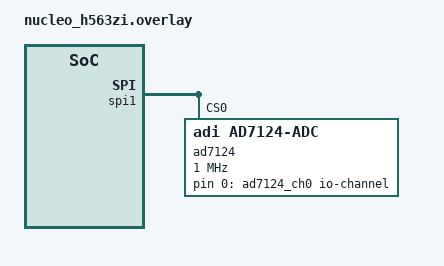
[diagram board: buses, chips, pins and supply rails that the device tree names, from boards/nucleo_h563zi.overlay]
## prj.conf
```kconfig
# Logging
CONFIG_LOG=y
CONFIG_LOG_DEFAULT_LEVEL=3
# CONFIG_REGULATOR_TPS55287Q1_LOG_LEVEL=4

# Enable floating-point printf support
CONFIG_CBPRINTF_FP_SUPPORT=y

# SPI support
CONFIG_SPI=y

# I2C support
# CONFIG_I2C=y

# GPIO support
CONFIG_GPIO=y

# ADC support
CONFIG_ADC=y
CONFIG_ADC_AD7124=y

# Regulator subsystem
# CONFIG_REGULATOR=y
# CONFIG_REGULATOR_TPS55287Q1=y

# Enable coo_commons library
# CONFIG_COO_COMMONS=y

# Optional: Network support (for future MQTT telemetry)
# CONFIG_NETWORKING=y
# CONFIG_COO_NETWORK=y
# CONFIG_COO_JSON=y
# CONFIG_COO_MQTT=y
```

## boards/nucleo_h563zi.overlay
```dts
/*
 * Devicetree overlay for NUCLEO-H563ZI:
 * - AD7124 ADC on SPI1
 */

/ {
    aliases {
        rtd-test = &ad7124_ch0;
    };

    ad7124_ch0: zephyr,user {
        io-channels = <&ad7124 0>;
    };
};

&spi1 {
    status = "okay";

    ad7124: ad7124@0 {
        compatible = "adi,ad7124-adc";
        status = "okay";
        reg = <0>;
        spi-max-frequency = <1000000>;
        active-device = <1>;
        // reference-enable;
        // power-mode = <0>;
        adc-mode = <0>;
        
        #address-cells = <1>;
        #size-cells = <0>;

        #io-channel-cells = <1>;

        channel@0 {
            reg = <0>;
            zephyr,gain = "ADC_GAIN_4";
            zephyr,reference = "ADC_REF_EXTERNAL0";
            zephyr,acquisition-time = <ADC_ACQ_TIME_DEFAULT>;
            zephyr,resolution = <24>;
            zephyr,current-source-pin = [03 00];
            zephyr,input-positive = <2>;
            zephyr,input-negative = <3>;
        };
    };
};
```

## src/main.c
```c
#include <zephyr/kernel.h>
#include <zephyr/device.h>
#include <zephyr/devicetree.h>
#include <zephyr/drivers/adc.h>
#include <zephyr/logging/log.h>

LOG_MODULE_REGISTER(rtd_dev, LOG_LEVEL_INF);

#define R_REF               5110.0f      /* Reference Resistance */
#define RTD_TC              3850.0f    /* Temperature Coefficient */
#define RTD_R0              1000.0f      /* Nominal Resistance at 0°C */

#define RTD_NODE DT_ALIAS(rtd_test)

static const struct adc_dt_spec rtd_channel = ADC_DT_SPEC_GET(RTD_NODE);

int main(void)
{
    int err;
    int32_t buf;

    struct adc_sequence sequence = {
        .buffer = &buf,
        .buffer_size = sizeof(buf),
    };

    err = adc_is_ready_dt(&rtd_channel);
    if (err < 0) {
        LOG_ERR("ADC device not ready (%d)", err);
        return -1;
    }

    /* Setup Channel 0 (RTD) */
    err = adc_channel_setup_dt(&rtd_channel);
    if (err < 0) {
        LOG_ERR("RTD Channel Setup failed (%d)", err);
        return -1;
    }

    LOG_INF("Starting RTD Measurement...");

    while (1) {
        adc_sequence_init_dt(&rtd_channel, &sequence);
        err = adc_read(rtd_channel.dev, &sequence);
        if (err < 0) {
            LOG_ERR("ADC read failed (%d)", err);
        } else {
            int32_t raw_value = buf;
            int32_t max_count = (1 << (rtd_channel.resolution - 1)) - 1; 
            float gain = 4.0f; 

            float r_rtd = (((float)raw_value - (float)max_count) * R_REF) / (gain * (float)max_count);
            float temp_c = (r_rtd - RTD_R0) / (RTD_TC / RTD_R0);

            LOG_INF("Raw: %d | Res: %.2f Ohms | Temp: %.3f C", raw_value, (double)r_rtd, (double)temp_c);
        }

        printk("------------------------------------------------------------------------------------\n");
        k_sleep(K_MSEC(1000));
    }

    return 0;
}
```
